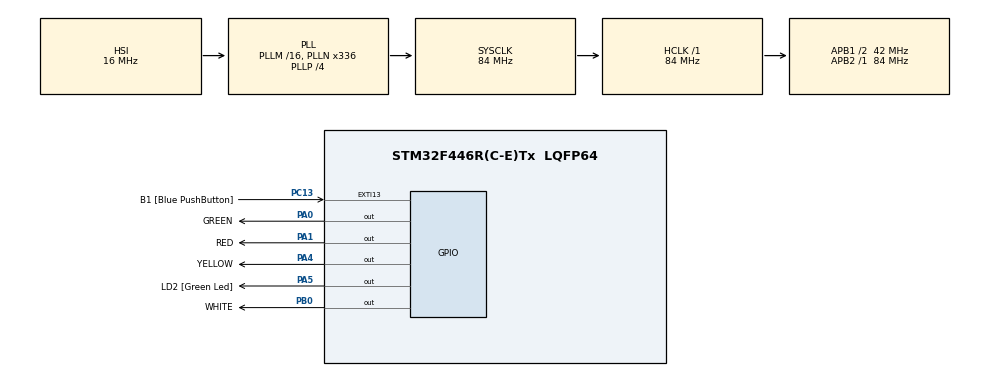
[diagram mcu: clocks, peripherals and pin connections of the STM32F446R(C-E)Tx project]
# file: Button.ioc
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Mcu.Family=STM32F4
Mcu.Name=STM32F446R(C-E)Tx
Mcu.Package=LQFP64
NVIC.EXTI15_10_IRQn=true\:0\:0\:false\:false\:true\:true\:true
NVIC.PriorityGroup=NVIC_PRIORITYGROUP_0
PA0-WKUP.GPIO_Label=GREEN
PA0-WKUP.GPIO_PuPd=GPIO_PULLDOWN
PA0-WKUP.Signal=GPIO_Output
PA1.GPIO_Label=RED
PA1.GPIO_PuPd=GPIO_PULLDOWN
PA1.Signal=GPIO_Output
PA13.GPIO_Label=TMS
PA13.Mode=Serial_Wire
PA13.Signal=SYS_JTMS-SWDIO
PA14.GPIO_Label=TCK
PA14.Mode=Serial_Wire
PA14.Signal=SYS_JTCK-SWCLK
PA4.GPIO_Label=YELLOW
PA4.GPIO_PuPd=GPIO_PULLDOWN
PA4.Signal=GPIO_Output
PA5.GPIO_Label=LD2 [Green Led]
PA5.Signal=GPIO_Output
PB0.GPIO_Label=WHITE
PB0.GPIO_PuPd=GPIO_PULLDOWN
PB0.Signal=GPIO_Output
PB3.GPIO_Label=SWO
PB3.Signal=SYS_JTDO-SWO
PC13.GPIO_Label=B1 [Blue PushButton]
PC13.GPIO_ModeDefaultEXTI=GPIO_MODE_IT_RISING
PC13.GPIO_PuPd=GPIO_PULLDOWN
PC13.Signal=GPXTI13
PC14-OSC32_IN.Mode=LSE-External-Oscillator
PC14-OSC32_IN.Signal=RCC_OSC32_IN
PC15-OSC32_OUT.Mode=LSE-External-Oscillator
PC15-OSC32_OUT.Signal=RCC_OSC32_OUT
PH0-OSC_IN.Mode=HSE-External-Oscillator
PH0-OSC_IN.Signal=RCC_OSC_IN
PH1-OSC_OUT.Mode=HSE-External-Oscillator
PH1-OSC_OUT.Signal=RCC_OSC_OUT
ProjectManager.HeapSize=0x200
ProjectManager.StackSize=0x400
ProjectManager.TargetToolchain=STM32CubeIDE
RCC.48MHZClocksFreq_Value=84000000
RCC.AHBFreq_Value=84000000
RCC.APB1CLKDivider=RCC_HCLK_DIV2
RCC.APB1Freq_Value=42000000
RCC.APB1TimFreq_Value=84000000
RCC.APB2Freq_Value=84000000
RCC.APB2TimFreq_Value=84000000
RCC.CortexFreq_Value=84000000
RCC.FLatency-AdvancedSettings=FLASH_LATENCY_2
RCC.HCLKFreq_Value=84000000
RCC.HSE_VALUE=8000000
RCC.HSI_VALUE=16000000
RCC.PLLN=336
RCC.PLLP=RCC_PLLP_DIV4
RCC.SYSCLKFreq_VALUE=84000000
RCC.SYSCLKSource=RCC_SYSCLKSOURCE_PLLCLK
RCC.USBFreq_Value=168000000
RCC.VCOOutputFreq_Value=336000000
board=NUCLEO-F446RE

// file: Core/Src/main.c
/* USER CODE BEGIN Header */
/**
  ******************************************************************************
  * @file           : main.c
  * @brief          : Main program body
  ******************************************************************************
  * @attention
  *
  * <h2><center>&copy; Copyright (c) 2021 STMicroelectronics.
  * All rights reserved.</center></h2>
  *
  * This software component is licensed by ST under BSD 3-Clause license,
  * the "License"; You may not use this file except in compliance with the
  * License. You may obtain a copy of the License at:
  *                        opensource.org/licenses/BSD-3-Clause
  *
  ******************************************************************************
  */
/* USER CODE END Header */

#include "main.h"

/* USER CODE BEGIN PV */
uint8_t a=0; //a for Compare
/* USER CODE END PV */

void SystemClock_Config(void);
static void MX_GPIO_Init(void);

int main(void)
{

  /* MCU Configuration--------------------------------------------------------*/

  /* Reset of all peripherals, Initializes the Flash interface and the Systick. */
  HAL_Init();

  /* Configure the system clock */
  SystemClock_Config();

  /* Initialize all configured peripherals */
  MX_GPIO_Init();
  /* USER CODE BEGIN 2 */
  //HAL_GPIO_WritePin(GPIOA, LD2_Pin, GPIO_PIN_SET);
  /* USER CODE END 2 */

  /* Infinite loop */
  while (1)
  {

    /* USER CODE BEGIN 3 */
	  switch (a)
	  {
	  case 0:
		  HAL_GPIO_WritePin(WHITE_GPIO_Port, WHITE_Pin, GPIO_PIN_RESET);
		  HAL_GPIO_WritePin(GPIOA, GREEN_Pin, GPIO_PIN_RESET);
		  HAL_GPIO_WritePin(GPIOA, RED_Pin, GPIO_PIN_RESET);
		  HAL_GPIO_WritePin(GPIOA, YELLOW_Pin, GPIO_PIN_RESET);

		  HAL_GPIO_WritePin(WHITE_GPIO_Port, WHITE_Pin, GPIO_PIN_RESET);
		  HAL_GPIO_WritePin(GPIOA, GREEN_Pin, GPIO_PIN_SET);
		  HAL_Delay(100);

		  HAL_GPIO_WritePin(GPIOA, RED_Pin, GPIO_PIN_SET);
		  HAL_Delay(100);

		  HAL_GPIO_WritePin(GPIOA, GREEN_Pin, GPIO_PIN_RESET);
		  HAL_GPIO_WritePin(GPIOA, YELLOW_Pin, GPIO_PIN_SET);
		  HAL_Delay(100);

		  HAL_GPIO_WritePin(GPIOA, RED_Pin, GPIO_PIN_RESET);
		  HAL_GPIO_WritePin(WHITE_GPIO_Port, WHITE_Pin, GPIO_PIN_SET);
		  HAL_Delay(100);

		  HAL_GPIO_WritePin(GPIOA, YELLOW_Pin, GPIO_PIN_RESET);
		  HAL_Delay(100);

		  HAL_GPIO_WritePin(GPIOA, RED_Pin, GPIO_PIN_RESET);
		  HAL_GPIO_WritePin(GPIOA, GREEN_Pin, GPIO_PIN_SET);
		  HAL_Delay(100);

		  HAL_GPIO_WritePin(WHITE_GPIO_Port, WHITE_Pin, GPIO_PIN_SET);
		  HAL_Delay(100);

		  HAL_GPIO_WritePin(GPIOA, GREEN_Pin, GPIO_PIN_RESET);
		  HAL_GPIO_WritePin(GPIOA, YELLOW_Pin, GPIO_PIN_SET);
		  HAL_Delay(100);

		  HAL_GPIO_WritePin(WHITE_GPIO_Port, WHITE_Pin, GPIO_PIN_RESET);
		  HAL_GPIO_WritePin(GPIOA, RED_Pin, GPIO_PIN_SET);
		  HAL_Delay(100);

		  HAL_GPIO_WritePin(GPIOA, YELLOW_Pin, GPIO_PIN_RESET);
		  HAL_Delay(100);
		  break;
	  case 1:
		  HAL_GPIO_WritePin(WHITE_GPIO_Port, WHITE_Pin, GPIO_PIN_RESET);
		  HAL_GPIO_WritePin(GPIOA, GREEN_Pin, GPIO_PIN_RESET);
		  HAL_GPIO_WritePin(GPIOA, RED_Pin, GPIO_PIN_RESET);
		  HAL_GPIO_WritePin(GPIOA, YELLOW_Pin, GPIO_PIN_RESET);

		  HAL_GPIO_WritePin(GPIOA, RED_Pin, GPIO_PIN_RESET);
		  HAL_GPIO_WritePin(GPIOA, GREEN_Pin, GPIO_PIN_SET);
		  HAL_Delay(100);

		  HAL_GPIO_WritePin(WHITE_GPIO_Port, WHITE_Pin, GPIO_PIN_SET);
		  HAL_Delay(100);

		  HAL_GPIO_WritePin(GPIOA, GREEN_Pin, GPIO_PIN_RESET);
		  HAL_GPIO_WritePin(GPIOA, YELLOW_Pin, GPIO_PIN_SET);
		  HAL_Delay(100);

		  HAL_GPIO_WritePin(WHITE_GPIO_Port, WHITE_Pin, GPIO_PIN_RESET);
		  HAL_GPIO_WritePin(GPIOA, RED_Pin, GPIO_PIN_SET);
		  HAL_Delay(100);
		  break;
	  case 2:
		  HAL_GPIO_WritePin(WHITE_GPIO_Port, WHITE_Pin, GPIO_PIN_RESET);
		  HAL_GPIO_WritePin(GPIOA, GREEN_Pin, GPIO_PIN_RESET);
		  HAL_GPIO_WritePin(GPIOA, RED_Pin, GPIO_PIN_RESET);
		  HAL_GPIO_WritePin(GPIOA, YELLOW_Pin, GPIO_PIN_RESET);
		  HAL_Delay(200);
		  HAL_GPIO_WritePin(WHITE_GPIO_Port, WHITE_Pin, GPIO_PIN_SET);
		  HAL_GPIO_WritePin(GPIOA, GREEN_Pin, GPIO_PIN_SET);
		  HAL_GPIO_WritePin(GPIOA, RED_Pin, GPIO_PIN_SET);
		  HAL_GPIO_WritePin(GPIOA, YELLOW_Pin, GPIO_PIN_SET);
		  HAL_Delay(200);
		  break;
	  case 3:
		  HAL_GPIO_WritePin(WHITE_GPIO_Port, WHITE_Pin, GPIO_PIN_RESET);
		  HAL_GPIO_WritePin(GPIOA, GREEN_Pin, GPIO_PIN_RESET);
		  HAL_GPIO_WritePin(GPIOA, RED_Pin, GPIO_PIN_RESET);
		  HAL_GPIO_WritePin(GPIOA, YELLOW_Pin, GPIO_PIN_RESET);

		  HAL_GPIO_WritePin(GPIOA, GREEN_Pin, GPIO_PIN_SET);
		  HAL_GPIO_WritePin(GPIOA, YELLOW_Pin, GPIO_PIN_SET);
		  HAL_GPIO_WritePin(WHITE_GPIO_Port, WHITE_Pin, GPIO_PIN_RESET);
		  HAL_GPIO_WritePin(GPIOA, RED_Pin, GPIO_PIN_RESET);
		  HAL_Delay(200);

		  HAL_GPIO_WritePin(GPIOA, GREEN_Pin, GPIO_PIN_RESET);
		  HAL_GPIO_WritePin(GPIOA, YELLOW_Pin, GPIO_PIN_RESET);
		  HAL_GPIO_WritePin(WHITE_GPIO_Port, WHITE_Pin, GPIO_PIN_SET);
		  HAL_GPIO_WritePin(GPIOA, RED_Pin, GPIO_PIN_SET);
		  HAL_Delay(200);
		  break;
	  }
  }

  /* USER CODE END 3 */
}

void SystemClock_Config(void)
{
  RCC_OscInitTypeDef RCC_OscInitStruct = {0};
  RCC_ClkInitTypeDef RCC_ClkInitStruct = {0};

  /** Configure the main internal regulator output voltage
  */
  __HAL_RCC_PWR_CLK_ENABLE();
  __HAL_PWR_VOLTAGESCALING_CONFIG(PWR_REGULATOR_VOLTAGE_SCALE3);
  /** Initializes the RCC Oscillators according to the specified parameters
  * in the RCC_OscInitTypeDef structure.
  */
  RCC_OscInitStruct.OscillatorType = RCC_OSCILLATORTYPE_HSI;
  RCC_OscInitStruct.HSIState = RCC_HSI_ON;
  RCC_OscInitStruct.HSICalibrationValue = RCC_HSICALIBRATION_DEFAULT;
  RCC_OscInitStruct.PLL.PLLState = RCC_PLL_ON;
  RCC_OscInitStruct.PLL.PLLSource = RCC_PLLSOURCE_HSI;
  RCC_OscInitStruct.PLL.PLLM = 16;
  RCC_OscInitStruct.PLL.PLLN = 336;
  RCC_OscInitStruct.PLL.PLLP = RCC_PLLP_DIV4;
  RCC_OscInitStruct.PLL.PLLQ = 2;
  RCC_OscInitStruct.PLL.PLLR = 2;
  if (HAL_RCC_OscConfig(&RCC_OscInitStruct) != HAL_OK)
  {
    Error_Handler();
  }
  /** Initializes the CPU, AHB and APB buses clocks
  */
  RCC_ClkInitStruct.ClockType = RCC_CLOCKTYPE_HCLK|RCC_CLOCKTYPE_SYSCLK
                              |RCC_CLOCKTYPE_PCLK1|RCC_CLOCKTYPE_PCLK2;
  RCC_ClkInitStruct.SYSCLKSource = RCC_SYSCLKSOURCE_PLLCLK;
  RCC_ClkInitStruct.AHBCLKDivider = RCC_SYSCLK_DIV1;
  RCC_ClkInitStruct.APB1CLKDivider = RCC_HCLK_DIV2;
  RCC_ClkInitStruct.APB2CLKDivider = RCC_HCLK_DIV1;

  if (HAL_RCC_ClockConfig(&RCC_ClkInitStruct, FLASH_LATENCY_2) != HAL_OK)
  {
    Error_Handler();
  }
}

static void MX_GPIO_Init(void)
{
  GPIO_InitTypeDef GPIO_InitStruct = {0};

  /* GPIO Ports Clock Enable */
  __HAL_RCC_GPIOC_CLK_ENABLE();
  __HAL_RCC_GPIOH_CLK_ENABLE();
  __HAL_RCC_GPIOA_CLK_ENABLE();
  __HAL_RCC_GPIOB_CLK_ENABLE();

  /*Configure GPIO pin Output Level */
  HAL_GPIO_WritePin(GPIOA, GREEN_Pin|RED_Pin|YELLOW_Pin|LD2_Pin, GPIO_PIN_RESET);

  /*Configure GPIO pin Output Level */
  HAL_GPIO_WritePin(WHITE_GPIO_Port, WHITE_Pin, GPIO_PIN_RESET);

  /*Configure GPIO pin : B1_Pin */
  GPIO_InitStruct.Pin = B1_Pin;
  GPIO_InitStruct.Mode = GPIO_MODE_IT_RISING;
  GPIO_InitStruct.Pull = GPIO_PULLDOWN;
  HAL_GPIO_Init(B1_GPIO_Port, &GPIO_InitStruct);

  /*Configure GPIO pins : GREEN_Pin RED_Pin YELLOW_Pin */
  GPIO_InitStruct.Pin = GREEN_Pin|RED_Pin|YELLOW_Pin;
  GPIO_InitStruct.Mode = GPIO_MODE_OUTPUT_PP;
  GPIO_InitStruct.Pull = GPIO_PULLDOWN;
  GPIO_InitStruct.Speed = GPIO_SPEED_FREQ_LOW;
  HAL_GPIO_Init(GPIOA, &GPIO_InitStruct);

  /*Configure GPIO pin : LD2_Pin */
  GPIO_InitStruct.Pin = LD2_Pin;
  GPIO_InitStruct.Mode = GPIO_MODE_OUTPUT_PP;
  GPIO_InitStruct.Pull = GPIO_NOPULL;
  GPIO_InitStruct.Speed = GPIO_SPEED_FREQ_LOW;
  HAL_GPIO_Init(LD2_GPIO_Port, &GPIO_InitStruct);

  /*Configure GPIO pin : WHITE_Pin */
  GPIO_InitStruct.Pin = WHITE_Pin;
  GPIO_InitStruct.Mode = GPIO_MODE_OUTPUT_PP;
  GPIO_InitStruct.Pull = GPIO_PULLDOWN;
  GPIO_InitStruct.Speed = GPIO_SPEED_FREQ_LOW;
  HAL_GPIO_Init(WHITE_GPIO_Port, &GPIO_InitStruct);

  /* EXTI interrupt init*/
  HAL_NVIC_SetPriority(EXTI15_10_IRQn, 0, 0);
  HAL_NVIC_EnableIRQ(EXTI15_10_IRQn);

}

/* USER CODE BEGIN 4 */
void HAL_GPIO_EXTI_Callback(uint16_t GPIO_Pin)
{
  if(GPIO_Pin== B1_Pin)
  {
	  switch (a)
	  {
	  	 case 0:
	  		  a++;
	  		  break;
	     case 1:
	    	 a++;
	    	 break;
	     case 2:
	    	 a++;
	    	 break;
	     case 3:
	    	 a=0;
	    	 break;
	     }
  }
  else
  {
    __NOP();
  }
}
/* USER CODE END 4 */

void Error_Handler(void)
{
  __disable_irq();
  while (1)
  {
  }
}

/************************ (C) COPYRIGHT STMicroelectronics *****END OF FILE****/
